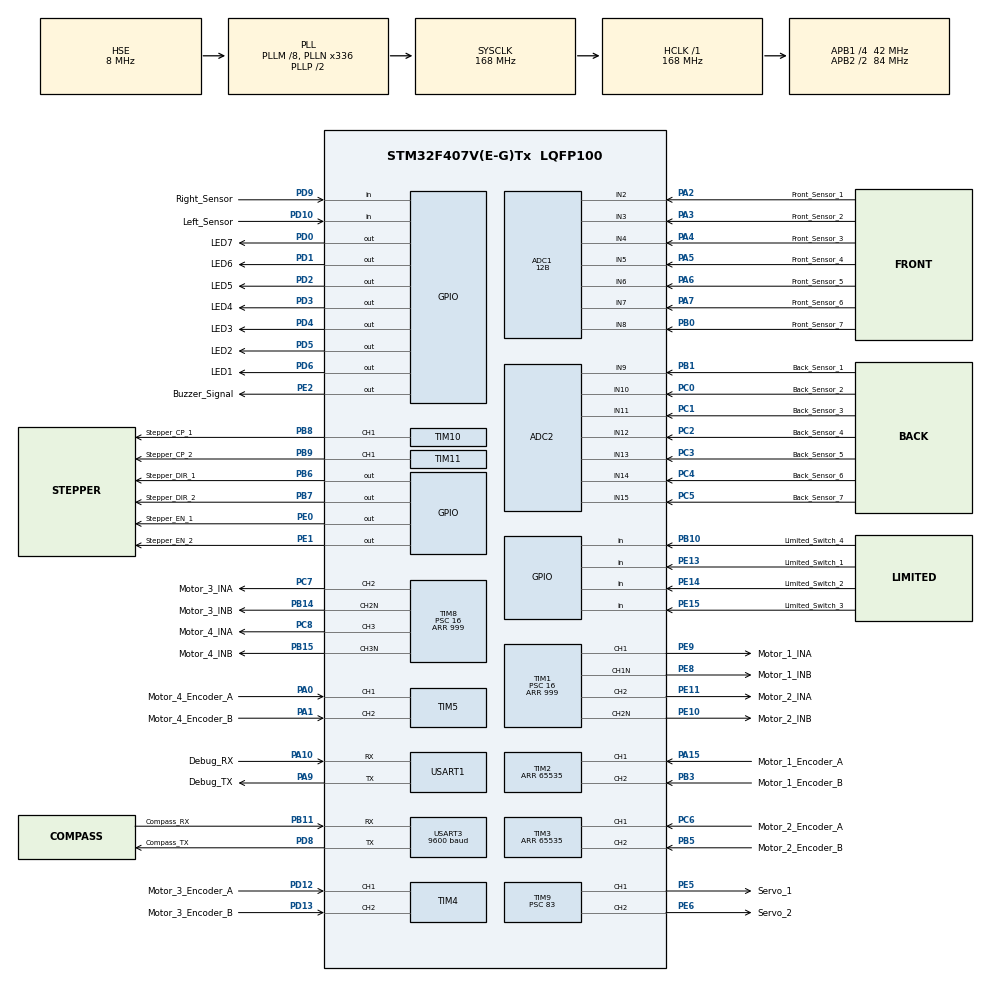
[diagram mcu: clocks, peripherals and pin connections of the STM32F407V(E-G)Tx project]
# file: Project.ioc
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ADC1.Channel-22\#ChannelRegularConversion=ADC_CHANNEL_2
ADC1.Channel-23\#ChannelRegularConversion=ADC_CHANNEL_3
ADC1.Channel-24\#ChannelRegularConversion=ADC_CHANNEL_4
ADC1.Channel-25\#ChannelRegularConversion=ADC_CHANNEL_5
ADC1.Channel-26\#ChannelRegularConversion=ADC_CHANNEL_6
ADC1.Channel-27\#ChannelRegularConversion=ADC_CHANNEL_7
ADC1.Channel-28\#ChannelRegularConversion=ADC_CHANNEL_8
ADC1.ContinuousConvMode=ENABLE
ADC1.EOCSelection=ADC_EOC_SEQ_CONV
ADC1.NbrOfConversion=7
ADC1.NbrOfConversionFlag=1
ADC1.Rank-22\#ChannelRegularConversion=1
ADC1.Rank-23\#ChannelRegularConversion=2
ADC1.Rank-24\#ChannelRegularConversion=3
ADC1.Rank-25\#ChannelRegularConversion=4
ADC1.Rank-26\#ChannelRegularConversion=5
ADC1.Rank-27\#ChannelRegularConversion=6
ADC1.Rank-28\#ChannelRegularConversion=7
ADC1.Resolution=ADC_RESOLUTION_12B
ADC1.SamplingTime-22\#ChannelRegularConversion=ADC_SAMPLETIME_480CYCLES
ADC1.SamplingTime-23\#ChannelRegularConversion=ADC_SAMPLETIME_480CYCLES
ADC1.SamplingTime-24\#ChannelRegularConversion=ADC_SAMPLETIME_480CYCLES
ADC1.SamplingTime-25\#ChannelRegularConversion=ADC_SAMPLETIME_480CYCLES
ADC1.SamplingTime-26\#ChannelRegularConversion=ADC_SAMPLETIME_480CYCLES
ADC1.SamplingTime-27\#ChannelRegularConversion=ADC_SAMPLETIME_480CYCLES
ADC1.SamplingTime-28\#ChannelRegularConversion=ADC_SAMPLETIME_480CYCLES
ADC1.ScanConvMode=ENABLE
ADC1.master=1
ADC2.Channel-0\#ChannelRegularConversion=ADC_CHANNEL_9
ADC2.Channel-1\#ChannelRegularConversion=ADC_CHANNEL_10
ADC2.Channel-2\#ChannelRegularConversion=ADC_CHANNEL_11
ADC2.Channel-3\#ChannelRegularConversion=ADC_CHANNEL_12
ADC2.Channel-4\#ChannelRegularConversion=ADC_CHANNEL_13
ADC2.Channel-5\#ChannelRegularConversion=ADC_CHANNEL_14
ADC2.Channel-6\#ChannelRegularConversion=ADC_CHANNEL_15
ADC2.ContinuousConvMode=ENABLE
ADC2.DMAContinuousRequests=ENABLE
ADC2.EOCSelection=ADC_EOC_SEQ_CONV
ADC2.NbrOfConversion=7
ADC2.NbrOfConversionFlag=1
ADC2.Rank-0\#ChannelRegularConversion=1
ADC2.Rank-1\#ChannelRegularConversion=2
ADC2.Rank-2\#ChannelRegularConversion=3
ADC2.Rank-3\#ChannelRegularConversion=4
ADC2.Rank-4\#ChannelRegularConversion=5
ADC2.Rank-5\#ChannelRegularConversion=6
ADC2.Rank-6\#ChannelRegularConversion=7
ADC2.SamplingTime-0\#ChannelRegularConversion=ADC_SAMPLETIME_480CYCLES
ADC2.SamplingTime-1\#ChannelRegularConversion=ADC_SAMPLETIME_480CYCLES
ADC2.SamplingTime-2\#ChannelRegularConversion=ADC_SAMPLETIME_480CYCLES
ADC2.SamplingTime-3\#ChannelRegularConversion=ADC_SAMPLETIME_480CYCLES
ADC2.SamplingTime-4\#ChannelRegularConversion=ADC_SAMPLETIME_480CYCLES
ADC2.SamplingTime-5\#ChannelRegularConversion=ADC_SAMPLETIME_480CYCLES
ADC2.SamplingTime-6\#ChannelRegularConversion=ADC_SAMPLETIME_480CYCLES
ADC2.ScanConvMode=ENABLE
Dma.ADC1.0.Direction=DMA_PERIPH_TO_MEMORY
Dma.ADC1.0.FIFOMode=DMA_FIFOMODE_DISABLE
Dma.ADC1.0.Instance=DMA2_Stream0
Dma.ADC1.0.MemDataAlignment=DMA_MDATAALIGN_HALFWORD
Dma.ADC1.0.MemInc=DMA_MINC_ENABLE
Dma.ADC1.0.Mode=DMA_CIRCULAR
Dma.ADC1.0.PeriphDataAlignment=DMA_PDATAALIGN_HALFWORD
Dma.ADC1.0.PeriphInc=DMA_PINC_DISABLE
Dma.ADC1.0.Priority=DMA_PRIORITY_HIGH
Dma.ADC2.1.Direction=DMA_PERIPH_TO_MEMORY
Dma.ADC2.1.FIFOMode=DMA_FIFOMODE_DISABLE
Dma.ADC2.1.Instance=DMA2_Stream2
Dma.ADC2.1.MemDataAlignment=DMA_MDATAALIGN_HALFWORD
Dma.ADC2.1.MemInc=DMA_MINC_ENABLE
Dma.ADC2.1.Mode=DMA_CIRCULAR
Dma.ADC2.1.PeriphDataAlignment=DMA_PDATAALIGN_HALFWORD
Dma.ADC2.1.PeriphInc=DMA_PINC_DISABLE
Dma.ADC2.1.Priority=DMA_PRIORITY_HIGH
Dma.Request0=ADC1
Dma.Request1=ADC2
Dma.Request2=USART3_RX
Dma.USART3_RX.2.Direction=DMA_PERIPH_TO_MEMORY
Dma.USART3_RX.2.FIFOMode=DMA_FIFOMODE_DISABLE
Dma.USART3_RX.2.Instance=DMA1_Stream1
Dma.USART3_RX.2.MemDataAlignment=DMA_MDATAALIGN_BYTE
Dma.USART3_RX.2.MemInc=DMA_MINC_ENABLE
Dma.USART3_RX.2.Mode=DMA_CIRCULAR
Dma.USART3_RX.2.PeriphDataAlignment=DMA_PDATAALIGN_BYTE
Dma.USART3_RX.2.PeriphInc=DMA_PINC_DISABLE
Dma.USART3_RX.2.Priority=DMA_PRIORITY_HIGH
Mcu.Family=STM32F4
Mcu.Name=STM32F407V(E-G)Tx
Mcu.Package=LQFP100
NVIC.DMA1_Stream1_IRQn=true\:0\:0\:false\:false\:true\:false\:true
NVIC.DMA2_Stream0_IRQn=true\:0\:0\:false\:false\:true\:false\:true
NVIC.DMA2_Stream2_IRQn=true\:0\:0\:false\:false\:true\:false\:true
NVIC.PriorityGroup=NVIC_PRIORITYGROUP_4
NVIC.TIM2_IRQn=true\:0\:0\:false\:true\:true\:1\:true\:true
NVIC.TIM3_IRQn=true\:0\:0\:false\:true\:true\:2\:true\:true
NVIC.TIM7_IRQn=true\:0\:0\:false\:true\:true\:3\:true\:true
PA0-WKUP.GPIO_Label=Motor_4_Encoder_A
PA0-WKUP.Signal=S_TIM5_CH1
PA1.GPIO_Label=Motor_4_Encoder_B
PA1.Signal=S_TIM5_CH2
PA10.GPIO_Label=Debug_RX
PA10.Mode=Asynchronous
PA10.Signal=USART1_RX
PA13.Mode=Serial_Wire
PA13.Signal=SYS_JTMS-SWDIO
PA14.Mode=Serial_Wire
PA14.Signal=SYS_JTCK-SWCLK
PA15.GPIO_Label=Motor_1_Encoder_A
PA15.GPIO_Speed=GPIO_SPEED_FREQ_VERY_HIGH
PA15.Signal=S_TIM2_CH1_ETR
PA2.GPIO_Label=Front_Sensor_1
PA2.Signal=ADCx_IN2
PA3.GPIO_Label=Front_Sensor_2
PA3.Signal=ADCx_IN3
PA4.GPIO_Label=Front_Sensor_3
PA4.Signal=ADCx_IN4
PA5.GPIO_Label=Front_Sensor_4
PA5.Signal=ADCx_IN5
PA6.GPIO_Label=Front_Sensor_5
PA6.Signal=ADCx_IN6
PA7.GPIO_Label=Front_Sensor_6
PA7.Signal=ADCx_IN7
PA9.GPIO_Label=Debug_TX
PA9.Mode=Asynchronous
PA9.Signal=USART1_TX
PB0.GPIO_Label=Front_Sensor_7
PB0.Signal=ADCx_IN8
PB1.GPIO_Label=Back_Sensor_1
PB1.Signal=ADCx_IN9
PB10.GPIO_Label=Limited_Switch_4
PB10.Signal=GPIO_Input
PB11.GPIO_Label=Compass_RX
PB11.Mode=Asynchronous
PB11.Signal=USART3_RX
PB14.GPIO_Label=Motor_3_INB
PB14.GPIO_Speed=GPIO_SPEED_FREQ_VERY_HIGH
PB14.Mode=PWM Generation2 CH2 CH2N
PB14.Signal=TIM8_CH2N
PB15.GPIO_Label=Motor_4_INB
PB15.Mode=Output Compare3 CH3 CH3N
PB15.Signal=TIM8_CH3N
PB3.GPIO_Label=Motor_1_Encoder_B
PB3.GPIO_Speed=GPIO_SPEED_FREQ_VERY_HIGH
PB3.Signal=S_TIM2_CH2
PB5.GPIO_Label=Motor_2_Encoder_B
PB5.GPIO_Speed=GPIO_SPEED_FREQ_VERY_HIGH
PB5.Signal=S_TIM3_CH2
PB6.GPIO_Label=Stepper_DIR_1
PB6.Signal=GPIO_Output
PB7.GPIO_Label=Stepper_DIR_2
PB7.Signal=GPIO_Output
PB8.GPIO_Label=Stepper_CP_1
PB8.Signal=S_TIM10_CH1
PB9.GPIO_Label=Stepper_CP_2
PB9.Signal=S_TIM11_CH1
PC0.GPIO_Label=Back_Sensor_2
PC0.Signal=ADCx_IN10
PC1.GPIO_Label=Back_Sensor_3
PC1.Signal=ADCx_IN11
PC2.GPIO_Label=Back_Sensor_4
PC2.Signal=ADCx_IN12
PC3.GPIO_Label=Back_Sensor_5
PC3.Signal=ADCx_IN13
PC4.GPIO_Label=Back_Sensor_6
PC4.Signal=ADCx_IN14
PC5.GPIO_Label=Back_Sensor_7
PC5.Signal=ADCx_IN15
PC6.GPIO_Label=Motor_2_Encoder_A
PC6.GPIO_Speed=GPIO_SPEED_FREQ_VERY_HIGH
PC6.Signal=S_TIM3_CH1
PC7.GPIO_Label=Motor_3_INA
PC7.GPIO_Speed=GPIO_SPEED_FREQ_VERY_HIGH
PC7.Signal=S_TIM8_CH2
PC8.GPIO_Label=Motor_4_INA
PC8.Signal=S_TIM8_CH3
PD0.GPIO_Label=LED7
PD0.Signal=GPIO_Output
PD1.GPIO_Label=LED6
PD1.Signal=GPIO_Output
PD10.GPIO_Label=Left_Sensor
PD10.Signal=GPIO_Input
PD12.GPIO_Label=Motor_3_Encoder_A
PD12.Signal=S_TIM4_CH1
PD13.GPIO_Label=Motor_3_Encoder_B
PD13.Signal=S_TIM4_CH2
PD2.GPIO_Label=LED5
PD2.Signal=GPIO_Output
PD3.GPIO_Label=LED4
PD3.Signal=GPIO_Output
PD4.GPIO_Label=LED3
PD4.Signal=GPIO_Output
PD5.GPIO_Label=LED2
PD5.Signal=GPIO_Output
PD6.GPIO_Label=LED1
PD6.Signal=GPIO_Output
PD8.GPIO_Label=Compass_TX
PD8.Mode=Asynchronous
PD8.Signal=USART3_TX
PD9.GPIO_Label=Right_Sensor
PD9.Signal=GPIO_Input
PE0.GPIO_Label=Stepper_EN_1
PE0.Signal=GPIO_Output
PE1.GPIO_Label=Stepper_EN_2
PE1.Signal=GPIO_Output
PE10.GPIO_Label=Motor_2_INB
PE10.GPIO_Speed=GPIO_SPEED_FREQ_VERY_HIGH
PE10.Mode=PWM Generation2 CH2 CH2N
PE10.Signal=TIM1_CH2N
PE11.GPIO_Label=Motor_2_INA
PE11.GPIO_Speed=GPIO_SPEED_FREQ_VERY_HIGH
PE11.Signal=S_TIM1_CH2
PE13.GPIO_Label=Limited_Switch_1
PE13.Signal=GPIO_Input
PE14.GPIO_Label=Limited_Switch_2
PE14.Signal=GPIO_Input
PE15.GPIO_Label=Limited_Switch_3
PE15.Signal=GPIO_Input
PE2.GPIO_Label=Buzzer_Signal
PE2.Signal=GPIO_Output
PE5.GPIO_Label=Servo_1
PE5.GPIO_Speed=GPIO_SPEED_FREQ_HIGH
PE5.Signal=S_TIM9_CH1
PE6.GPIO_Label=Servo_2
PE6.GPIO_Speed=GPIO_SPEED_FREQ_HIGH
PE6.Signal=S_TIM9_CH2
PE8.GPIO_Label=Motor_1_INB
PE8.GPIO_Speed=GPIO_SPEED_FREQ_VERY_HIGH
PE8.Mode=PWM Generation1 CH1 CH1N
PE8.Signal=TIM1_CH1N
PE9.GPIO_Label=Motor_1_INA
PE9.GPIO_Speed=GPIO_SPEED_FREQ_VERY_HIGH
PE9.Signal=S_TIM1_CH1
PH0-OSC_IN.Mode=HSE-External-Oscillator
PH0-OSC_IN.Signal=RCC_OSC_IN
PH1-OSC_OUT.Mode=HSE-External-Oscillator
PH1-OSC_OUT.Signal=RCC_OSC_OUT
ProjectManager.HeapSize=0x200
ProjectManager.StackSize=0x400
ProjectManager.TargetToolchain=EWARM V8
RCC.48MHZClocksFreq_Value=84000000
RCC.AHBFreq_Value=168000000
RCC.APB1CLKDivider=RCC_HCLK_DIV4
RCC.APB1Freq_Value=42000000
RCC.APB1TimFreq_Value=84000000
RCC.APB2CLKDivider=RCC_HCLK_DIV2
RCC.APB2Freq_Value=84000000
RCC.APB2TimFreq_Value=168000000
RCC.CortexFreq_Value=168000000
RCC.EnbaleCSS=true
RCC.HCLKFreq_Value=168000000
RCC.HSE_VALUE=8000000
RCC.HSI_VALUE=16000000
RCC.LSE_VALUE=32768
RCC.PLLM=8
RCC.PLLN=336
RCC.PLLSourceVirtual=RCC_PLLSOURCE_HSE
RCC.SYSCLKFreq_VALUE=168000000
RCC.SYSCLKSource=RCC_SYSCLKSOURCE_PLLCLK
RCC.VCOOutputFreq_Value=336000000
SH.ADCx_IN10.0=ADC2_IN10,IN10
SH.ADCx_IN11.0=ADC2_IN11,IN11
SH.ADCx_IN12.0=ADC2_IN12,IN12
SH.ADCx_IN13.0=ADC2_IN13,IN13
SH.ADCx_IN14.0=ADC2_IN14,IN14
SH.ADCx_IN15.0=ADC2_IN15,IN15
SH.ADCx_IN2.0=ADC1_IN2,IN2
SH.ADCx_IN3.0=ADC1_IN3,IN3
SH.ADCx_IN4.0=ADC1_IN4,IN4
SH.ADCx_IN5.0=ADC1_IN5,IN5
SH.ADCx_IN6.0=ADC1_IN6,IN6
SH.ADCx_IN7.0=ADC1_IN7,IN7
SH.ADCx_IN8.0=ADC1_IN8,IN8
SH.ADCx_IN9.0=ADC2_IN9,IN9
SH.S_TIM10_CH1.0=TIM10_CH1,PWM Generation1 CH1
SH.S_TIM11_CH1.0=TIM11_CH1,PWM Generation1 CH1
SH.S_TIM1_CH1.0=TIM1_CH1,PWM Generation1 CH1 CH1N
SH.S_TIM1_CH2.0=TIM1_CH2,PWM Generation2 CH2 CH2N
SH.S_TIM2_CH1_ETR.0=TIM2_CH1,Encoder_Interface
SH.S_TIM2_CH2.0=TIM2_CH2,Encoder_Interface
SH.S_TIM3_CH1.0=TIM3_CH1,Encoder_Interface
SH.S_TIM3_CH2.0=TIM3_CH2,Encoder_Interface
SH.S_TIM4_CH1.0=TIM4_CH1,Encoder_Interface
SH.S_TIM4_CH2.0=TIM4_CH2,Encoder_Interface
SH.S_TIM5_CH1.0=TIM5_CH1,Encoder_Interface
SH.S_TIM5_CH2.0=TIM5_CH2,Encoder_Interface
SH.S_TIM8_CH2.0=TIM8_CH2,PWM Generation2 CH2 CH2N
SH.S_TIM8_CH3.0=TIM8_CH3,Output Compare3 CH3 CH3N
SH.S_TIM9_CH1.0=TIM9_CH1,PWM Generation1 CH1
SH.S_TIM9_CH2.0=TIM9_CH2,PWM Generation2 CH2
TIM1.AutoReloadPreload=TIM_AUTORELOAD_PRELOAD_ENABLE
TIM1.Channel-PWM\ Generation1\ CH1\ CH1N=TIM_CHANNEL_1
TIM1.Channel-PWM\ Generation2\ CH2\ CH2N=TIM_CHANNEL_2
TIM1.Period=999
TIM1.Prescaler=16
TIM1.Pulse-PWM\ Generation1\ CH1\ CH1N=499
TIM1.Pulse-PWM\ Generation2\ CH2\ CH2N=499
TIM10.AutoReloadPreload=TIM_AUTORELOAD_PRELOAD_ENABLE
TIM10.Channel=TIM_CHANNEL_1
TIM10.Period=999
TIM10.Prescaler=503
TIM10.Pulse=499
TIM11.AutoReloadPreload=TIM_AUTORELOAD_PRELOAD_ENABLE
TIM11.Channel=TIM_CHANNEL_1
TIM11.Period=999
TIM11.Prescaler=503
TIM11.Pulse=499
TIM2.EncoderMode=TIM_ENCODERMODE_TI12
TIM2.Period=65535
TIM3.EncoderMode=TIM_ENCODERMODE_TI12
TIM3.Period=65535
TIM7.Period=50000
TIM7.Prescaler=83
TIM8.AutoReloadPreload=TIM_AUTORELOAD_PRELOAD_ENABLE
TIM8.Channel-Output\ Compare3\ CH3\ CH3N=TIM_CHANNEL_3
TIM8.Channel-PWM\ Generation2\ CH2\ CH2N=TIM_CHANNEL_2
TIM8.Period=999
TIM8.Prescaler=16
TIM8.Pulse-Output\ Compare3\ CH3\ CH3N=499
TIM8.Pulse-PWM\ Generation2\ CH2\ CH2N=499
TIM9.AutoReloadPreload=TIM_AUTORELOAD_PRELOAD_ENABLE
TIM9.Channel-PWM\ Generation1\ CH1=TIM_CHANNEL_1
TIM9.Channel-PWM\ Generation2\ CH2=TIM_CHANNEL_2
TIM9.Period=20000
TIM9.Prescaler=83
TIM9.Pulse-PWM\ Generation1\ CH1=100
TIM9.Pulse-PWM\ Generation2\ CH2=200
USART1.VirtualMode=VM_ASYNC
USART3.BaudRate=9600
USART3.VirtualMode=VM_ASYNC
VP_TIM10_VS_ClockSourceINT.Mode=Enable_Timer
VP_TIM11_VS_ClockSourceINT.Mode=Enable_Timer
VP_TIM1_VS_ClockSourceINT.Mode=Internal
VP_TIM7_VS_ClockSourceINT.Mode=Enable_Timer
VP_TIM8_VS_ClockSourceINT.Mode=Internal
VP_TIM9_VS_ClockSourceINT.Mode=Internal
board=custom

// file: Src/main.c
/* USER CODE BEGIN Header */
/**
  ******************************************************************************
  * @file           : main.c
  * @brief          : Main program body
  ******************************************************************************
  ** This notice applies to any and all portions of this file
  * that are not between comment pairs USER CODE BEGIN and
  * USER CODE END. Other portions of this file, whether
  * inserted by the user or by software development tools
  * are owned by their respective copyright owners.
  *
  * COPYRIGHT(c) 2019 STMicroelectronics
  *
  * Redistribution and use in source and binary forms, with or without modification,
  * are permitted provided that the following conditions are met:
  *   1. Redistributions of source code must retain the above copyright notice,
  *      this list of conditions and the following disclaimer.
  *   2. Redistributions in binary form must reproduce the above copyright notice,
  *      this list of conditions and the following disclaimer in the documentation
  *      and/or other materials provided with the distribution.
  *   3. Neither the name of STMicroelectronics nor the names of its contributors
  *      may be used to endorse or promote products derived from this software
  *      without specific prior written permission.
  *
  * THIS SOFTWARE IS PROVIDED BY THE COPYRIGHT HOLDERS AND CONTRIBUTORS "AS IS"
  * AND ANY EXPRESS OR IMPLIED WARRANTIES, INCLUDING, BUT NOT LIMITED TO, THE
  * IMPLIED WARRANTIES OF MERCHANTABILITY AND FITNESS FOR A PARTICULAR PURPOSE ARE
  * DISCLAIMED. IN NO EVENT SHALL THE COPYRIGHT HOLDER OR CONTRIBUTORS BE LIABLE
  * FOR ANY DIRECT, INDIRECT, INCIDENTAL, SPECIAL, EXEMPLARY, OR CONSEQUENTIAL
  * DAMAGES (INCLUDING, BUT NOT LIMITED TO, PROCUREMENT OF SUBSTITUTE GOODS OR
  * SERVICES; LOSS OF USE, DATA, OR PROFITS; OR BUSINESS INTERRUPTION) HOWEVER
  * CAUSED AND ON ANY THEORY OF LIABILITY, WHETHER IN CONTRACT, STRICT LIABILITY,
  * OR TORT (INCLUDING NEGLIGENCE OR OTHERWISE) ARISING IN ANY WAY OUT OF THE USE
  * OF THIS SOFTWARE, EVEN IF ADVISED OF THE POSSIBILITY OF SUCH DAMAGE.
  *
  ******************************************************************************
  */
/* USER CODE END Header */

#include "main.h"

/* USER CODE BEGIN Includes */
#include "Encoder.h"
#include "Buzzer.h"
#include "PID.h"
#include "DC_Motor.h"
#include "LED.h"
#include "Servo.h"
#include "Task.h"
#include "Track.h"
#include "Stepper.h"
/* USER CODE END Includes */

ADC_HandleTypeDef hadc1;
ADC_HandleTypeDef hadc2;
DMA_HandleTypeDef hdma_adc1;
DMA_HandleTypeDef hdma_adc2;

TIM_HandleTypeDef htim1;
TIM_HandleTypeDef htim2;
TIM_HandleTypeDef htim3;
TIM_HandleTypeDef htim4;
TIM_HandleTypeDef htim5;
TIM_HandleTypeDef htim7;
TIM_HandleTypeDef htim8;
TIM_HandleTypeDef htim9;
TIM_HandleTypeDef htim10;
TIM_HandleTypeDef htim11;

UART_HandleTypeDef huart1;
UART_HandleTypeDef huart3;
DMA_HandleTypeDef hdma_usart3_rx;

/* USER CODE BEGIN PV */
uint8_t ADC_ConvertedValueLocal[7];  //AD转换结果转存值
uint32_t ADC_ConvertedValue[7];  // AD转换结果值
uint8_t US100_Data = 0;  //超声波模块数据
uint8_t Compass_Data = 0;  //指南针模块数据

/* USER CODE END PV */

void SystemClock_Config(void);
static void MX_GPIO_Init(void);
static void MX_DMA_Init(void);
static void MX_TIM1_Init(void);
static void MX_TIM8_Init(void);
static void MX_TIM2_Init(void);
static void MX_TIM3_Init(void);
static void MX_TIM4_Init(void);
static void MX_TIM5_Init(void);
static void MX_TIM7_Init(void);
static void MX_USART1_UART_Init(void);
static void MX_TIM9_Init(void);
static void MX_ADC1_Init(void);
static void MX_TIM10_Init(void);
static void MX_TIM11_Init(void);
static void MX_ADC2_Init(void);
static void MX_USART3_UART_Init(void);
static void MX_NVIC_Init(void);
/* USER CODE BEGIN PFP */
void Get_ADC_Data(void);
/* USER CODE END PFP */

/* USER CODE BEGIN 0 */
void Dly_us(void)
{
   int ii;
   for(ii=0;ii<10;ii++);
}
/* USER CODE END 0 */

int main(void)
{

  /* MCU Configuration--------------------------------------------------------*/

  /* Reset of all peripherals, Initializes the Flash interface and the Systick. */
  HAL_Init();

  /* Configure the system clock */
  SystemClock_Config();

  /* Initialize all configured peripherals */
  MX_GPIO_Init();
  MX_DMA_Init();
  MX_TIM1_Init();
  MX_TIM8_Init();
  MX_TIM2_Init();
  MX_TIM3_Init();
  MX_TIM4_Init();
  MX_TIM5_Init();
  MX_TIM7_Init();
  MX_USART1_UART_Init();
  MX_TIM9_Init();
  MX_ADC1_Init();
  MX_TIM10_Init();
  MX_TIM11_Init();
  MX_ADC2_Init();
  MX_USART3_UART_Init();

  /* Initialize interrupts */
  MX_NVIC_Init();
  /* USER CODE BEGIN 2 */
//	BEEP_GPIO_Init();  //蜂鸣器初始化
//	LED_Init();  //LED状态初始化
//	IncPIDInit();  //PID参数初始化
  Servo_Init();  //舵机位置初始化
  Encoder_Init();  //编码器初始化

  /* PWM定时器启动 */
//  HAL_TIM_Base_Start(&htim1);
//  HAL_TIM_Base_Start(&htim8);
//	HAL_TIM_Base_Start(&htim9);
  /* 暂时禁止PWM输出 */
//  DCMotor_Contrl(Motor_1,499);
//  DCMotor_Contrl(Motor_2,499);
//	DCMotor_Contrl(Motor_3,499);
//  DCMotor_Contrl(Motor_4,499);

//  Arm_Init();  //机械臂初始化
//	HAL_ADC_Start_DMA(&hadc1, ADC_ConvertedValue, 7);  //启动AD转换并使能DMA传输和中断
//  HAL_UART_Receive_IT(&huart2,&US100_Data,1);  //使能接收，进入中断回调函数
//	HAL_UART_Receive_IT(&huart3,&Compass_Data,1);  //使能接收，进入中断回调函数
//	HAL_TIM_Base_Start_IT(&htim7);  //任务定时器启动

  /* USER CODE END 2 */

  /* Infinite loop */
  /* USER CODE BEGIN WHILE */
  while (1)
  {
//		printf("Motor_1: Cnt %d Pwm %d\n",Encoder_CaptureNumber[0],PWM_Duty[0]);
//		if(Arm_Status == IN_GETTING_TASK)
//		{
//      Get_a_Target();  //抓取一个物品
//			Turn_Flag = 1;  //放置转向标志位
//			Task_Delay_Start(10);  //延时500ms（十个定时器周期）
//		}
//		else if(Arm_Status == IN_PUTTING_TASK)
//		{
//			Put_a_Target();  //放置一个物品
//			Turn_Flag = 1;  //放置转向标志位
//			Task_Delay_Start(10);  //延时500ms（十个定时器周期）
//		}
//		else /* if(Arm_Status == NO_TASK) */
//		{
//
//		}

    /* USER CODE END WHILE */

  }
}

void SystemClock_Config(void)
{
  RCC_OscInitTypeDef RCC_OscInitStruct = {0};
  RCC_ClkInitTypeDef RCC_ClkInitStruct = {0};

  /** Configure the main internal regulator output voltage
  */
  __HAL_RCC_PWR_CLK_ENABLE();
  __HAL_PWR_VOLTAGESCALING_CONFIG(PWR_REGULATOR_VOLTAGE_SCALE1);
  /** Initializes the CPU, AHB and APB busses clocks
  */
  RCC_OscInitStruct.OscillatorType = RCC_OSCILLATORTYPE_HSE;
  RCC_OscInitStruct.HSEState = RCC_HSE_ON;
  RCC_OscInitStruct.PLL.PLLState = RCC_PLL_ON;
  RCC_OscInitStruct.PLL.PLLSource = RCC_PLLSOURCE_HSE;
  RCC_OscInitStruct.PLL.PLLM = 8;
  RCC_OscInitStruct.PLL.PLLN = 336;
  RCC_OscInitStruct.PLL.PLLP = RCC_PLLP_DIV2;
  RCC_OscInitStruct.PLL.PLLQ = 4;
  if (HAL_RCC_OscConfig(&RCC_OscInitStruct) != HAL_OK)
  {
    Error_Handler();
  }
  /** Initializes the CPU, AHB and APB busses clocks
  */
  RCC_ClkInitStruct.ClockType = RCC_CLOCKTYPE_HCLK|RCC_CLOCKTYPE_SYSCLK
                              |RCC_CLOCKTYPE_PCLK1|RCC_CLOCKTYPE_PCLK2;
  RCC_ClkInitStruct.SYSCLKSource = RCC_SYSCLKSOURCE_PLLCLK;
  RCC_ClkInitStruct.AHBCLKDivider = RCC_SYSCLK_DIV1;
  RCC_ClkInitStruct.APB1CLKDivider = RCC_HCLK_DIV4;
  RCC_ClkInitStruct.APB2CLKDivider = RCC_HCLK_DIV2;

  if (HAL_RCC_ClockConfig(&RCC_ClkInitStruct, FLASH_LATENCY_5) != HAL_OK)
  {
    Error_Handler();
  }
  /** Enables the Clock Security System
  */
  HAL_RCC_EnableCSS();
}

/**
  * @brief NVIC Configuration.
  * @retval None
  */
static void MX_NVIC_Init(void)
{
  /* TIM2_IRQn interrupt configuration */
  HAL_NVIC_SetPriority(TIM2_IRQn, 0, 0);
  HAL_NVIC_EnableIRQ(TIM2_IRQn);
  /* TIM3_IRQn interrupt configuration */
  HAL_NVIC_SetPriority(TIM3_IRQn, 0, 0);
  HAL_NVIC_EnableIRQ(TIM3_IRQn);
  /* TIM7_IRQn interrupt configuration */
  HAL_NVIC_SetPriority(TIM7_IRQn, 0, 0);
  HAL_NVIC_EnableIRQ(TIM7_IRQn);
}

static void MX_ADC1_Init(void)
{

  ADC_ChannelConfTypeDef sConfig = {0};

  /** Configure the global features of the ADC (Clock, Resolution, Data Alignment and number of conversion)
  */
  hadc1.Instance = ADC1;
  hadc1.Init.ClockPrescaler = ADC_CLOCK_SYNC_PCLK_DIV4;
  hadc1.Init.Resolution = ADC_RESOLUTION_12B;
  hadc1.Init.ScanConvMode = ENABLE;
  hadc1.Init.ContinuousConvMode = ENABLE;
  hadc1.Init.DiscontinuousConvMode = DISABLE;
  hadc1.Init.ExternalTrigConvEdge = ADC_EXTERNALTRIGCONVEDGE_NONE;
  hadc1.Init.ExternalTrigConv = ADC_SOFTWARE_START;
  hadc1.Init.DataAlign = ADC_DATAALIGN_RIGHT;
  hadc1.Init.NbrOfConversion = 7;
  hadc1.Init.DMAContinuousRequests = DISABLE;
  hadc1.Init.EOCSelection = ADC_EOC_SEQ_CONV;
  if (HAL_ADC_Init(&hadc1) != HAL_OK)
  {
    Error_Handler();
  }
  /** Configure for the selected ADC regular channel its corresponding rank in the sequencer and its sample time.
  */
  sConfig.Channel = ADC_CHANNEL_2;
  sConfig.Rank = 1;
  sConfig.SamplingTime = ADC_SAMPLETIME_480CYCLES;
  if (HAL_ADC_ConfigChannel(&hadc1, &sConfig) != HAL_OK)
  {
    Error_Handler();
  }
  /** Configure for the selected ADC regular channel its corresponding rank in the sequencer and its sample time.
  */
  sConfig.Channel = ADC_CHANNEL_3;
  sConfig.Rank = 2;
  if (HAL_ADC_ConfigChannel(&hadc1, &sConfig) != HAL_OK)
  {
    Error_Handler();
  }
  /** Configure for the selected ADC regular channel its corresponding rank in the sequencer and its sample time.
  */
  sConfig.Channel = ADC_CHANNEL_4;
  sConfig.Rank = 3;
  if (HAL_ADC_ConfigChannel(&hadc1, &sConfig) != HAL_OK)
  {
    Error_Handler();
  }
  /** Configure for the selected ADC regular channel its corresponding rank in the sequencer and its sample time.
  */
  sConfig.Channel = ADC_CHANNEL_5;
  sConfig.Rank = 4;
  if (HAL_ADC_ConfigChannel(&hadc1, &sConfig) != HAL_OK)
  {
    Error_Handler();
  }
  /** Configure for the selected ADC regular channel its corresponding rank in the sequencer and its sample time.
  */
  sConfig.Channel = ADC_CHANNEL_6;
  sConfig.Rank = 5;
  if (HAL_ADC_ConfigChannel(&hadc1, &sConfig) != HAL_OK)
  {
    Error_Handler();
  }
  /** Configure for the selected ADC regular channel its corresponding rank in the sequencer and its sample time.
  */
  sConfig.Channel = ADC_CHANNEL_7;
  sConfig.Rank = 6;
  if (HAL_ADC_ConfigChannel(&hadc1, &sConfig) != HAL_OK)
  {
    Error_Handler();
  }
  /** Configure for the selected ADC regular channel its corresponding rank in the sequencer and its sample time.
  */
  sConfig.Channel = ADC_CHANNEL_8;
  sConfig.Rank = 7;
  if (HAL_ADC_ConfigChannel(&hadc1, &sConfig) != HAL_OK)
  {
    Error_Handler();
  }

}

static void MX_ADC2_Init(void)
{

  ADC_ChannelConfTypeDef sConfig = {0};

  /** Configure the global features of the ADC (Clock, Resolution, Data Alignment and number of conversion)
  */
  hadc2.Instance = ADC2;
  hadc2.Init.ClockPrescaler = ADC_CLOCK_SYNC_PCLK_DIV4;
  hadc2.Init.Resolution = ADC_RESOLUTION_12B;
  hadc2.Init.ScanConvMode = ENABLE;
  hadc2.Init.ContinuousConvMode = ENABLE;
  hadc2.Init.DiscontinuousConvMode = DISABLE;
  hadc2.Init.ExternalTrigConvEdge = ADC_EXTERNALTRIGCONVEDGE_NONE;
  hadc2.Init.ExternalTrigConv = ADC_SOFTWARE_START;
  hadc2.Init.DataAlign = ADC_DATAALIGN_RIGHT;
  hadc2.Init.NbrOfConversion = 7;
  hadc2.Init.DMAContinuousRequests = ENABLE;
  hadc2.Init.EOCSelection = ADC_EOC_SEQ_CONV;
  if (HAL_ADC_Init(&hadc2) != HAL_OK)
  {
    Error_Handler();
  }
  /** Configure for the selected ADC regular channel its corresponding rank in the sequencer and its sample time.
  */
  sConfig.Channel = ADC_CHANNEL_9;
  sConfig.Rank = 1;
  sConfig.SamplingTime = ADC_SAMPLETIME_480CYCLES;
  if (HAL_ADC_ConfigChannel(&hadc2, &sConfig) != HAL_OK)
  {
    Error_Handler();
  }
  /** Configure for the selected ADC regular channel its corresponding rank in the sequencer and its sample time.
  */
  sConfig.Channel = ADC_CHANNEL_10;
  sConfig.Rank = 2;
  if (HAL_ADC_ConfigChannel(&hadc2, &sConfig) != HAL_OK)
  {
    Error_Handler();
  }
  /** Configure for the selected ADC regular channel its corresponding rank in the sequencer and its sample time.
  */
  sConfig.Channel = ADC_CHANNEL_11;
  sConfig.Rank = 3;
  if (HAL_ADC_ConfigChannel(&hadc2, &sConfig) != HAL_OK)
  {
    Error_Handler();
  }
  /** Configure for the selected ADC regular channel its corresponding rank in the sequencer and its sample time.
  */
  sConfig.Channel = ADC_CHANNEL_12;
  sConfig.Rank = 4;
  if (HAL_ADC_ConfigChannel(&hadc2, &sConfig) != HAL_OK)
  {
    Error_Handler();
  }
  /** Configure for the selected ADC regular channel its corresponding rank in the sequencer and its sample time.
  */
  sConfig.Channel = ADC_CHANNEL_13;
  sConfig.Rank = 5;
  if (HAL_ADC_ConfigChannel(&hadc2, &sConfig) != HAL_OK)
  {
    Error_Handler();
  }
  /** Configure for the selected ADC regular channel its corresponding rank in the sequencer and its sample time.
  */
  sConfig.Channel = ADC_CHANNEL_14;
  sConfig.Rank = 6;
  if (HAL_ADC_ConfigChannel(&hadc2, &sConfig) != HAL_OK)
  {
    Error_Handler();
  }
  /** Configure for the selected ADC regular channel its corresponding rank in the sequencer and its sample time.
  */
  sConfig.Channel = ADC_CHANNEL_15;
  sConfig.Rank = 7;
  if (HAL_ADC_ConfigChannel(&hadc2, &sConfig) != HAL_OK)
  {
    Error_Handler();
  }

}

static void MX_TIM1_Init(void)
{

  TIM_ClockConfigTypeDef sClockSourceConfig = {0};
  TIM_MasterConfigTypeDef sMasterConfig = {0};
  TIM_OC_InitTypeDef sConfigOC = {0};
  TIM_BreakDeadTimeConfigTypeDef sBreakDeadTimeConfig = {0};

  htim1.Instance = TIM1;
  htim1.Init.Prescaler = 16;
  htim1.Init.CounterMode = TIM_COUNTERMODE_UP;
  htim1.Init.Period = 999;
  htim1.Init.ClockDivision = TIM_CLOCKDIVISION_DIV1;
  htim1.Init.RepetitionCounter = 0;
  htim1.Init.AutoReloadPreload = TIM_AUTORELOAD_PRELOAD_ENABLE;
  if (HAL_TIM_Base_Init(&htim1) != HAL_OK)
  {
    Error_Handler();
  }
  sClockSourceConfig.ClockSource = TIM_CLOCKSOURCE_INTERNAL;
  if (HAL_TIM_ConfigClockSource(&htim1, &sClockSourceConfig) != HAL_OK)
  {
    Error_Handler();
  }
  if (HAL_TIM_PWM_Init(&htim1) != HAL_OK)
  {
    Error_Handler();
  }
  sMasterConfig.MasterOutputTrigger = TIM_TRGO_RESET;
  sMasterConfig.MasterSlaveMode = TIM_MASTERSLAVEMODE_DISABLE;
  if (HAL_TIMEx_MasterConfigSynchronization(&htim1, &sMasterConfig) != HAL_OK)
  {
    Error_Handler();
  }
  sConfigOC.OCMode = TIM_OCMODE_PWM1;
  sConfigOC.Pulse = 499;
  sConfigOC.OCPolarity = TIM_OCPOLARITY_HIGH;
  sConfigOC.OCNPolarity = TIM_OCNPOLARITY_HIGH;
  sConfigOC.OCFastMode = TIM_OCFAST_DISABLE;
  sConfigOC.OCIdleState = TIM_OCIDLESTATE_RESET;
  sConfigOC.OCNIdleState = TIM_OCNIDLESTATE_RESET;
  if (HAL_TIM_PWM_ConfigChannel(&htim1, &sConfigOC, TIM_CHANNEL_1) != HAL_OK)
  {
    Error_Handler();
  }
  if (HAL_TIM_PWM_ConfigChannel(&htim1, &sConfigOC, TIM_CHANNEL_2) != HAL_OK)
  {
    Error_Handler();
  }
  sBreakDeadTimeConfig.OffStateRunMode = TIM_OSSR_DISABLE;
  sBreakDeadTimeConfig.OffStateIDLEMode = TIM_OSSI_DISABLE;
  sBreakDeadTimeConfig.LockLevel = TIM_LOCKLEVEL_OFF;
  sBreakDeadTimeConfig.DeadTime = 0;
  sBreakDeadTimeConfig.BreakState = TIM_BREAK_DISABLE;
  sBreakDeadTimeConfig.BreakPolarity = TIM_BREAKPOLARITY_HIGH;
  sBreakDeadTimeConfig.AutomaticOutput = TIM_AUTOMATICOUTPUT_DISABLE;
  if (HAL_TIMEx_ConfigBreakDeadTime(&htim1, &sBreakDeadTimeConfig) != HAL_OK)
  {
    Error_Handler();
  }
  HAL_TIM_MspPostInit(&htim1);

}

static void MX_TIM2_Init(void)
{

  TIM_Encoder_InitTypeDef sConfig = {0};
  TIM_MasterConfigTypeDef sMasterConfig = {0};

  htim2.Instance = TIM2;
  htim2.Init.Prescaler = 0;
  htim2.Init.CounterMode = TIM_COUNTERMODE_UP;
  htim2.Init.Period = 65535;
  htim2.Init.ClockDivision = TIM_CLOCKDIVISION_DIV1;
  htim2.Init.AutoReloadPreload = TIM_AUTORELOAD_PRELOAD_DISABLE;
  sConfig.EncoderMode = TIM_ENCODERMODE_TI12;
  sConfig.IC1Polarity = TIM_ICPOLARITY_RISING;
  sConfig.IC1Selection = TIM_ICSELECTION_DIRECTTI;
  sConfig.IC1Prescaler = TIM_ICPSC_DIV1;
  sConfig.IC1Filter = 0;
  sConfig.IC2Polarity = TIM_ICPOLARITY_RISING;
  sConfig.IC2Selection = TIM_ICSELECTION_DIRECTTI;
  sConfig.IC2Prescaler = TIM_ICPSC_DIV1;
  sConfig.IC2Filter = 0;
  if (HAL_TIM_Encoder_Init(&htim2, &sConfig) != HAL_OK)
  {
    Error_Handler();
  }
  sMasterConfig.MasterOutputTrigger = TIM_TRGO_RESET;
  sMasterConfig.MasterSlaveMode = TIM_MASTERSLAVEMODE_DISABLE;
  if (HAL_TIMEx_MasterConfigSynchronization(&htim2, &sMasterConfig) != HAL_OK)
  {
    Error_Handler();
  }

}

static void MX_TIM3_Init(void)
{

  TIM_Encoder_InitTypeDef sConfig = {0};
  TIM_MasterConfigTypeDef sMasterConfig = {0};

  htim3.Instance = TIM3;
  htim3.Init.Prescaler = 0;
  htim3.Init.CounterMode = TIM_COUNTERMODE_UP;
  htim3.Init.Period = 65535;
  htim3.Init.ClockDivision = TIM_CLOCKDIVISION_DIV1;
  htim3.Init.AutoReloadPreload = TIM_AUTORELOAD_PRELOAD_DISABLE;
  sConfig.EncoderMode = TIM_ENCODERMODE_TI12;
  sConfig.IC1Polarity = TIM_ICPOLARITY_RISING;
  sConfig.IC1Selection = TIM_ICSELECTION_DIRECTTI;
  sConfig.IC1Prescaler = TIM_ICPSC_DIV1;
  sConfig.IC1Filter = 0;
  sConfig.IC2Polarity = TIM_ICPOLARITY_RISING;
  sConfig.IC2Selection = TIM_ICSELECTION_DIRECTTI;
  sConfig.IC2Prescaler = TIM_ICPSC_DIV1;
  sConfig.IC2Filter = 0;
  if (HAL_TIM_Encoder_Init(&htim3, &sConfig) != HAL_OK)
  {
    Error_Handler();
  }
  sMasterConfig.MasterOutputTrigger = TIM_TRGO_RESET;
  sMasterConfig.MasterSlaveMode = TIM_MASTERSLAVEMODE_DISABLE;
  if (HAL_TIMEx_MasterConfigSynchronization(&htim3, &sMasterConfig) != HAL_OK)
  {
    Error_Handler();
  }
  /* USER CODE BEGIN TIM3_Init 2 */
  __HAL_TIM_CLEAR_IT(&htim2, TIM_IT_UPDATE);  // 清除更新中断标志位
  __HAL_TIM_URS_ENABLE(&htim2);               // 仅允许计数器溢出才产生更新中断
  __HAL_TIM_ENABLE_IT(&htim2,TIM_IT_UPDATE);  // 使能更新中断
  /* USER CODE END TIM3_Init 2 */

}

static void MX_TIM4_Init(void)
{

  TIM_Encoder_InitTypeDef sConfig = {0};
  TIM_MasterConfigTypeDef sMasterConfig = {0};

  htim4.Instance = TIM4;
  htim4.Init.Prescaler = 0;
  htim4.Init.CounterMode = TIM_COUNTERMODE_UP;
  htim4.Init.Period = 0;
  htim4.Init.ClockDivision = TIM_CLOCKDIVISION_DIV1;
  htim4.Init.AutoReloadPreload = TIM_AUTORELOAD_PRELOAD_DISABLE;
  sConfig.EncoderMode = TIM_ENCODERMODE_TI1;
  sConfig.IC1Polarity = TIM_ICPOLARITY_RISING;
  sConfig.IC1Selection = TIM_ICSELECTION_DIRECTTI;
  sConfig.IC1Prescaler = TIM_ICPSC_DIV1;
  sConfig.IC1Filter = 0;
  sConfig.IC2Polarity = TIM_ICPOLARITY_RISING;
  sConfig.IC2Selection = TIM_ICSELECTION_DIRECTTI;
  sConfig.IC2Prescaler = TIM_ICPSC_DIV1;
  sConfig.IC2Filter = 0;
  if (HAL_TIM_Encoder_Init(&htim4, &sConfig) != HAL_OK)
  {
    Error_Handler();
  }
  sMasterConfig.MasterOutputTrigger = TIM_TRGO_RESET;
  sMasterConfig.MasterSlaveMode = TIM_MASTERSLAVEMODE_DISABLE;
  if (HAL_TIMEx_MasterConfigSynchronization(&htim4, &sMasterConfig) != HAL_OK)
  {
    Error_Handler();
  }

}

static void MX_TIM5_Init(void)
{

  TIM_Encoder_InitTypeDef sConfig = {0};
  TIM_MasterConfigTypeDef sMasterConfig = {0};

  htim5.Instance = TIM5;
  htim5.Init.Prescaler = 0;
  htim5.Init.CounterMode = TIM_COUNTERMODE_UP;
  htim5.Init.Period = 0;
  htim5.Init.ClockDivision = TIM_CLOCKDIVISION_DIV1;
  htim5.Init.AutoReloadPreload = TIM_AUTORELOAD_PRELOAD_DISABLE;
  sConfig.EncoderMode = TIM_ENCODERMODE_TI1;
  sConfig.IC1Polarity = TIM_ICPOLARITY_RISING;
  sConfig.IC1Selection = TIM_ICSELECTION_DIRECTTI;
  sConfig.IC1Prescaler = TIM_ICPSC_DIV1;
  sConfig.IC1Filter = 0;
  sConfig.IC2Polarity = TIM_ICPOLARITY_RISING;
  sConfig.IC2Selection = TIM_ICSELECTION_DIRECTTI;
  sConfig.IC2Prescaler = TIM_ICPSC_DIV1;
  sConfig.IC2Filter = 0;
  if (HAL_TIM_Encoder_Init(&htim5, &sConfig) != HAL_OK)
  {
    Error_Handler();
  }
  sMasterConfig.MasterOutputTrigger = TIM_TRGO_RESET;
  sMasterConfig.MasterSlaveMode = TIM_MASTERSLAVEMODE_DISABLE;
  if (HAL_TIMEx_MasterConfigSynchronization(&htim5, &sMasterConfig) != HAL_OK)
  {
    Error_Handler();
  }

}

static void MX_TIM7_Init(void)
{

  TIM_MasterConfigTypeDef sMasterConfig = {0};

  htim7.Instance = TIM7;
  htim7.Init.Prescaler = 83;
  htim7.Init.CounterMode = TIM_COUNTERMODE_UP;
  htim7.Init.Period = 50000;
  htim7.Init.AutoReloadPreload = TIM_AUTORELOAD_PRELOAD_DISABLE;
  if (HAL_TIM_Base_Init(&htim7) != HAL_OK)
  {
    Error_Handler();
  }
  sMasterConfig.MasterOutputTrigger = TIM_TRGO_RESET;
  sMasterConfig.MasterSlaveMode = TIM_MASTERSLAVEMODE_DISABLE;
  if (HAL_TIMEx_MasterConfigSynchronization(&htim7, &sMasterConfig) != HAL_OK)
  {
    Error_Handler();
  }

}

static void MX_TIM8_Init(void)
{

  TIM_ClockConfigTypeDef sClockSourceConfig = {0};
  TIM_MasterConfigTypeDef sMasterConfig = {0};
  TIM_OC_InitTypeDef sConfigOC = {0};
  TIM_BreakDeadTimeConfigTypeDef sBreakDeadTimeConfig = {0};

  htim8.Instance = TIM8;
  htim8.Init.Prescaler = 16;
  htim8.Init.CounterMode = TIM_COUNTERMODE_UP;
  htim8.Init.Period = 999;
  htim8.Init.ClockDivision = TIM_CLOCKDIVISION_DIV1;
  htim8.Init.RepetitionCounter = 0;
  htim8.Init.AutoReloadPreload = TIM_AUTORELOAD_PRELOAD_ENABLE;
  if (HAL_TIM_Base_Init(&htim8) != HAL_OK)
  {
    Error_Handler();
  }
  sClockSourceConfig.ClockSource = TIM_CLOCKSOURCE_INTERNAL;
  if (HAL_TIM_ConfigClockSource(&htim8, &sClockSourceConfig) != HAL_OK)
  {
    Error_Handler();
  }
  if (HAL_TIM_PWM_Init(&htim8) != HAL_OK)
  {
    Error_Handler();
  }
  if (HAL_TIM_OC_Init(&htim8) != HAL_OK)
  {
    Error_Handler();
  }
  sMasterConfig.MasterOutputTrigger = TIM_TRGO_RESET;
  sMasterConfig.MasterSlaveMode = TIM_MASTERSLAVEMODE_DISABLE;
  if (HAL_TIMEx_MasterConfigSynchronization(&htim8, &sMasterConfig) != HAL_OK)
  {
    Error_Handler();
  }
  sConfigOC.OCMode = TIM_OCMODE_PWM1;
  sConfigOC.Pulse = 499;
  sConfigOC.OCPolarity = TIM_OCPOLARITY_HIGH;
  sConfigOC.OCNPolarity = TIM_OCNPOLARITY_HIGH;
  sConfigOC.OCFastMode = TIM_OCFAST_DISABLE;
  sConfigOC.OCIdleState = TIM_OCIDLESTATE_RESET;
  sConfigOC.OCNIdleState = TIM_OCNIDLESTATE_RESET;
  if (HAL_TIM_PWM_ConfigChannel(&htim8, &sConfigOC, TIM_CHANNEL_2) != HAL_OK)
  {
    Error_Handler();
  }
  sConfigOC.OCMode = TIM_OCMODE_TIMING;
  if (HAL_TIM_OC_ConfigChannel(&htim8, &sConfigOC, TIM_CHANNEL_3) != HAL_OK)
  {
    Error_Handler();
  }
  sBreakDeadTimeConfig.OffStateRunMode = TIM_OSSR_DISABLE;
  sBreakDeadTimeConfig.OffStateIDLEMode = TIM_OSSI_DISABLE;
  sBreakDeadTimeConfig.LockLevel = TIM_LOCKLEVEL_OFF;
  sBreakDeadTimeConfig.DeadTime = 0;
  sBreakDeadTimeConfig.BreakState = TIM_BREAK_DISABLE;
  sBreakDeadTimeConfig.BreakPolarity = TIM_BREAKPOLARITY_HIGH;
  sBreakDeadTimeConfig.AutomaticOutput = TIM_AUTOMATICOUTPUT_DISABLE;
  if (HAL_TIMEx_ConfigBreakDeadTime(&htim8, &sBreakDeadTimeConfig) != HAL_OK)
  {
    Error_Handler();
  }
  HAL_TIM_MspPostInit(&htim8);

}

static void MX_TIM9_Init(void)
{

  TIM_ClockConfigTypeDef sClockSourceConfig = {0};
  TIM_OC_InitTypeDef sConfigOC = {0};

  htim9.Instance = TIM9;
  htim9.Init.Prescaler = 1680-1;
  htim9.Init.CounterMode = TIM_COUNTERMODE_UP;
  htim9.Init.Period = 1999;
  htim9.Init.ClockDivision = TIM_CLOCKDIVISION_DIV1;
  htim9.Init.AutoReloadPreload = TIM_AUTORELOAD_PRELOAD_ENABLE;
  if (HAL_TIM_Base_Init(&htim9) != HAL_OK)
  {
    Error_Handler();
  }
  sClockSourceConfig.ClockSource = TIM_CLOCKSOURCE_INTERNAL;
  if (HAL_TIM_ConfigClockSource(&htim9, &sClockSourceConfig) != HAL_OK)
  {
    Error_Handler();
  }
  if (HAL_TIM_PWM_Init(&htim9) != HAL_OK)
  {
    Error_Handler();
  }
  sConfigOC.OCMode = TIM_OCMODE_PWM1;
  sConfigOC.Pulse = 0;
  sConfigOC.OCPolarity = TIM_OCPOLARITY_HIGH;
  sConfigOC.OCFastMode = TIM_OCFAST_DISABLE;
  if (HAL_TIM_PWM_ConfigChannel(&htim9, &sConfigOC, TIM_CHANNEL_1) != HAL_OK)
  {
    Error_Handler();
  }
  sConfigOC.Pulse = 0;
  if (HAL_TIM_PWM_ConfigChannel(&htim9, &sConfigOC, TIM_CHANNEL_2) != HAL_OK)
  {
    Error_Handler();
  }
  HAL_TIM_MspPostInit(&htim9);

}

static void MX_TIM10_Init(void)
{

  TIM_OC_InitTypeDef sConfigOC = {0};

  htim10.Instance = TIM10;
  htim10.Init.Prescaler = 503;
  htim10.Init.CounterMode = TIM_COUNTERMODE_UP;
  htim10.Init.Period = 999;
  htim10.Init.ClockDivision = TIM_CLOCKDIVISION_DIV1;
  htim10.Init.AutoReloadPreload = TIM_AUTORELOAD_PRELOAD_ENABLE;
  if (HAL_TIM_Base_Init(&htim10) != HAL_OK)
  {
    Error_Handler();
  }
  if (HAL_TIM_PWM_Init(&htim10) != HAL_OK)
  {
    Error_Handler();
  }
  sConfigOC.OCMode = TIM_OCMODE_PWM1;
  sConfigOC.Pulse = 499;
  sConfigOC.OCPolarity = TIM_OCPOLARITY_HIGH;
  sConfigOC.OCFastMode = TIM_OCFAST_DISABLE;
  if (HAL_TIM_PWM_ConfigChannel(&htim10, &sConfigOC, TIM_CHANNEL_1) != HAL_OK)
  {
    Error_Handler();
  }
  HAL_TIM_MspPostInit(&htim10);

}

static void MX_TIM11_Init(void)
{

  TIM_OC_InitTypeDef sConfigOC = {0};

  htim11.Instance = TIM11;
  htim11.Init.Prescaler = 503;
  htim11.Init.CounterMode = TIM_COUNTERMODE_UP;
  htim11.Init.Period = 999;
  htim11.Init.ClockDivision = TIM_CLOCKDIVISION_DIV1;
  htim11.Init.AutoReloadPreload = TIM_AUTORELOAD_PRELOAD_ENABLE;
  if (HAL_TIM_Base_Init(&htim11) != HAL_OK)
  {
    Error_Handler();
  }
  if (HAL_TIM_PWM_Init(&htim11) != HAL_OK)
  {
    Error_Handler();
  }
  sConfigOC.OCMode = TIM_OCMODE_PWM1;
  sConfigOC.Pulse = 499;
  sConfigOC.OCPolarity = TIM_OCPOLARITY_HIGH;
  sConfigOC.OCFastMode = TIM_OCFAST_DISABLE;
  if (HAL_TIM_PWM_ConfigChannel(&htim11, &sConfigOC, TIM_CHANNEL_1) != HAL_OK)
  {
    Error_Handler();
  }
  HAL_TIM_MspPostInit(&htim11);

}

static void MX_USART1_UART_Init(void)
{

  huart1.Instance = USART1;
  huart1.Init.BaudRate = 115200;
  huart1.Init.WordLength = UART_WORDLENGTH_8B;
  huart1.Init.StopBits = UART_STOPBITS_1;
  huart1.Init.Parity = UART_PARITY_NONE;
  huart1.Init.Mode = UART_MODE_TX_RX;
  huart1.Init.HwFlowCtl = UART_HWCONTROL_NONE;
  huart1.Init.OverSampling = UART_OVERSAMPLING_16;
  if (HAL_UART_Init(&huart1) != HAL_OK)
  {
    Error_Handler();
  }

}

static void MX_USART3_UART_Init(void)
{

  huart3.Instance = USART3;
  huart3.Init.BaudRate = 9600;
  huart3.Init.WordLength = UART_WORDLENGTH_8B;
  huart3.Init.StopBits = UART_STOPBITS_1;
  huart3.Init.Parity = UART_PARITY_NONE;
  huart3.Init.Mode = UART_MODE_TX_RX;
  huart3.Init.HwFlowCtl = UART_HWCONTROL_NONE;
  huart3.Init.OverSampling = UART_OVERSAMPLING_16;
  if (HAL_UART_Init(&huart3) != HAL_OK)
  {
    Error_Handler();
  }

}

static void MX_DMA_Init(void)
{
  /* DMA controller clock enable */
  __HAL_RCC_DMA2_CLK_ENABLE();
  __HAL_RCC_DMA1_CLK_ENABLE();

  /* DMA interrupt init */
  /* DMA1_Stream1_IRQn interrupt configuration */
  HAL_NVIC_SetPriority(DMA1_Stream1_IRQn, 0, 0);
  HAL_NVIC_EnableIRQ(DMA1_Stream1_IRQn);
  /* DMA2_Stream0_IRQn interrupt configuration */
  HAL_NVIC_SetPriority(DMA2_Stream0_IRQn, 0, 0);
  HAL_NVIC_EnableIRQ(DMA2_Stream0_IRQn);
  /* DMA2_Stream2_IRQn interrupt configuration */
  HAL_NVIC_SetPriority(DMA2_Stream2_IRQn, 0, 0);
  HAL_NVIC_EnableIRQ(DMA2_Stream2_IRQn);

}

static void MX_GPIO_Init(void)
{
  GPIO_InitTypeDef GPIO_InitStruct = {0};

  /* GPIO Ports Clock Enable */
  __HAL_RCC_GPIOE_CLK_ENABLE();
  __HAL_RCC_GPIOH_CLK_ENABLE();
  __HAL_RCC_GPIOC_CLK_ENABLE();
  __HAL_RCC_GPIOA_CLK_ENABLE();
  __HAL_RCC_GPIOB_CLK_ENABLE();
  __HAL_RCC_GPIOD_CLK_ENABLE();

  /*Configure GPIO pin Output Level */
  HAL_GPIO_WritePin(GPIOE, Buzzer_Signal_Pin|Stepper_EN_1_Pin|Stepper_EN_2_Pin, GPIO_PIN_RESET);

  /*Configure GPIO pin Output Level */
  HAL_GPIO_WritePin(GPIOD, LED7_Pin|LED6_Pin|LED5_Pin|LED4_Pin
                          |LED3_Pin|LED2_Pin|LED1_Pin, GPIO_PIN_RESET);

  /*Configure GPIO pin Output Level */
  HAL_GPIO_WritePin(GPIOB, Stepper_DIR_1_Pin|Stepper_DIR_2_Pin, GPIO_PIN_RESET);

  /*Configure GPIO pins : Buzzer_Signal_Pin Stepper_EN_1_Pin Stepper_EN_2_Pin */
  GPIO_InitStruct.Pin = Buzzer_Signal_Pin|Stepper_EN_1_Pin|Stepper_EN_2_Pin;
  GPIO_InitStruct.Mode = GPIO_MODE_OUTPUT_PP;
  GPIO_InitStruct.Pull = GPIO_NOPULL;
  GPIO_InitStruct.Speed = GPIO_SPEED_FREQ_LOW;
  HAL_GPIO_Init(GPIOE, &GPIO_InitStruct);

  /*Configure GPIO pins : Limited_Switch_1_Pin Limited_Switch_2_Pin Limited_Switch_3_Pin */
  GPIO_InitStruct.Pin = Limited_Switch_1_Pin|Limited_Switch_2_Pin|Limited_Switch_3_Pin;
  GPIO_InitStruct.Mode = GPIO_MODE_INPUT;
  GPIO_InitStruct.Pull = GPIO_NOPULL;
  HAL_GPIO_Init(GPIOE, &GPIO_InitStruct);

  /*Configure GPIO pin : Limited_Switch_4_Pin */
  GPIO_InitStruct.Pin = Limited_Switch_4_Pin;
  GPIO_InitStruct.Mode = GPIO_MODE_INPUT;
  GPIO_InitStruct.Pull = GPIO_NOPULL;
  HAL_GPIO_Init(Limited_Switch_4_GPIO_Port, &GPIO_InitStruct);

  /*Configure GPIO pins : Right_Sensor_Pin Left_Sensor_Pin */
  GPIO_InitStruct.Pin = Right_Sensor_Pin|Left_Sensor_Pin;
  GPIO_InitStruct.Mode = GPIO_MODE_INPUT;
  GPIO_InitStruct.Pull = GPIO_NOPULL;
  HAL_GPIO_Init(GPIOD, &GPIO_InitStruct);

  /*Configure GPIO pins : LED7_Pin LED6_Pin LED5_Pin LED4_Pin
                           LED3_Pin LED2_Pin LED1_Pin */
  GPIO_InitStruct.Pin = LED7_Pin|LED6_Pin|LED5_Pin|LED4_Pin
                          |LED3_Pin|LED2_Pin|LED1_Pin;
  GPIO_InitStruct.Mode = GPIO_MODE_OUTPUT_PP;
  GPIO_InitStruct.Pull = GPIO_NOPULL;
  GPIO_InitStruct.Speed = GPIO_SPEED_FREQ_LOW;
  HAL_GPIO_Init(GPIOD, &GPIO_InitStruct);

  /*Configure GPIO pins : Stepper_DIR_1_Pin Stepper_DIR_2_Pin */
  GPIO_InitStruct.Pin = Stepper_DIR_1_Pin|Stepper_DIR_2_Pin;
  GPIO_InitStruct.Mode = GPIO_MODE_OUTPUT_PP;
  GPIO_InitStruct.Pull = GPIO_NOPULL;
  GPIO_InitStruct.Speed = GPIO_SPEED_FREQ_LOW;
  HAL_GPIO_Init(GPIOB, &GPIO_InitStruct);

}

/* USER CODE BEGIN 4 */
/**
  * 函数功能: 重定向c库函数printf到DEBUG_USARTx
  * 输入参数: 无
  * 返 回 值: 无
  * 说    明：无
  */
int fputc(int ch, FILE *f)
{
  HAL_UART_Transmit(&huart1, (uint8_t *)&ch, 1, 0xffff);
  return ch;
}

/**
  * 函数功能: 重定向c库函数getchar,scanf到DEBUG_USARTx
  * 输入参数: 无
  * 返 回 值: 无
  * 说    明：无
  */
int fgetc(FILE * f)
{
  uint8_t ch = 0;
  while(HAL_UART_Receive(&huart1,&ch, 1, 0xffff)!=HAL_OK);
  return ch;
}

/**
  * 函数功能: ADC转换完成回调函数
  * 输入参数: hadc：ADC外设设备句柄
  * 返 回 值: 无
  * 说    明: 无
  */
void HAL_ADC_ConvCpltCallback(ADC_HandleTypeDef* hadc)
{
  //Get_ADC_Data();
}

/*************************************
  * 函数功能: 获取ADC数据
  * 输入参数: 无
  * 返 回 值: 无
  * 说    明: 无
  ************************************/
void Get_ADC_Data(void)
{
	uint8_t i;
  for(i = 0; i < 7; i++)
	{
	  ADC_ConvertedValueLocal[i] = (uint8_t)ADC_ConvertedValue[i];
	}
}

/**
  * 函数功能: 串口接收完成回调函数
  * 输入参数: 无
  * 返 回 值: 无
  * 说    明：无
  */
void HAL_UART_RxCpltCallback(UART_HandleTypeDef *UartHandle)
{
  HAL_UART_Receive_IT(&huart2,&US100_Data,1);
  HAL_UART_Receive_IT(&huart3,&Compass_Data,1);
}

/* USER CODE END 4 */

void Error_Handler(void)
{
}

/************************ (C) COPYRIGHT STMicroelectronics *****END OF FILE****/
